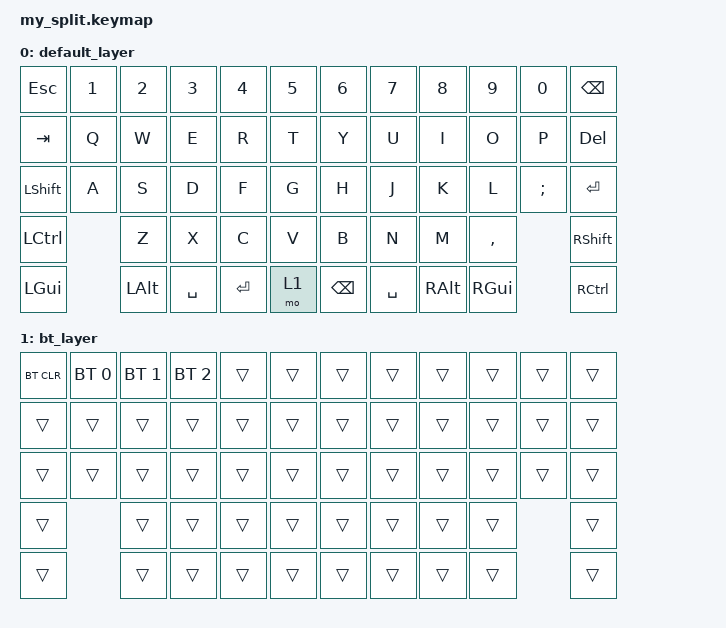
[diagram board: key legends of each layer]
#include <behaviors.dtsi>
#include <dt-bindings/zmk/keys.h>
#include <dt-bindings/zmk/bt.h>

/ {
    keymap {
        compatible = "zmk,keymap";

        default_layer {
            bindings = <
                /* 왼쪽 28키                                      오른쪽 28키 (더미) */
                &kp ESC   &kp N1    &kp N2    &kp N3    &kp N4    &kp N5      &kp N6    &kp N7    &kp N8    &kp N9    &kp N0    &kp BSPC
                &kp TAB   &kp Q     &kp W     &kp E     &kp R     &kp T       &kp Y     &kp U     &kp I     &kp O     &kp P     &kp DEL
                &kp LSHFT &kp A     &kp S     &kp D     &kp F     &kp G       &kp H     &kp J     &kp K     &kp L     &kp SEMI  &kp ENTER
                &kp LCTRL           &kp Z     &kp X     &kp C     &kp V       &kp B     &kp N     &kp M     &kp COMMA           &kp RSHFT
                &kp LGUI            &kp LALT  &kp SPACE &kp ENTER &mo 1       &kp BSPC  &kp SPACE &kp RALT  &kp RGUI            &kp RCTRL
            >;
        };

        bt_layer {
            bindings = <
                &bt BT_CLR &bt BT_SEL 0 &bt BT_SEL 1 &bt BT_SEL 2 &trans &trans   &trans &trans &trans &trans &trans &trans
                &trans     &trans       &trans       &trans       &trans &trans   &trans &trans &trans &trans &trans &trans
                &trans     &trans       &trans       &trans       &trans &trans   &trans &trans &trans &trans &trans &trans
                &trans                  &trans       &trans       &trans &trans   &trans &trans &trans &trans        &trans
                &trans                  &trans       &trans       &trans &trans   &trans &trans &trans &trans        &trans
            >;
        };
    };
};
